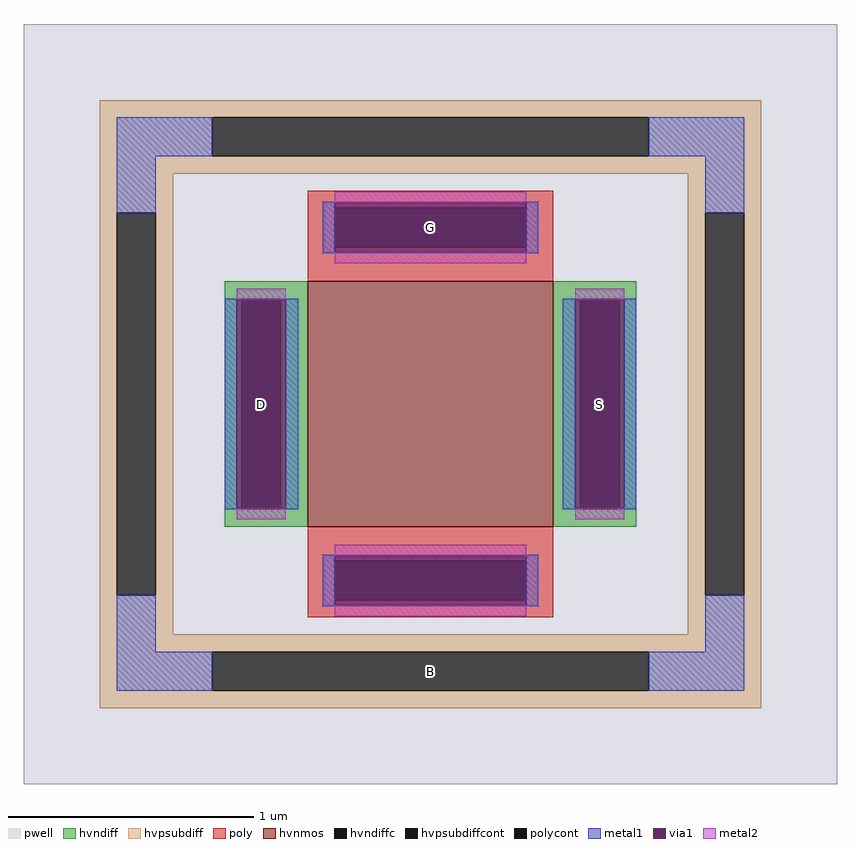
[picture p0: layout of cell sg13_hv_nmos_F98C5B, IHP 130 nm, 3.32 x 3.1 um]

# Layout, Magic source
magic
tech ihp-sg13cmos5l
magscale 1 2
<< pwell >>
rect -332 -310 332 310
<< hvnmos >>
rect -100 -100 100 100
<< hvndiff >>
rect -168 86 -100 100
rect -168 -86 -154 86
rect -122 -86 -100 86
rect -168 -100 -100 -86
rect 100 86 168 100
rect 100 -86 122 86
rect 154 -86 168 86
rect 100 -100 168 -86
<< hvndiffc >>
rect -154 -86 -122 86
rect 122 -86 154 86
<< hvpsubdiff >>
rect -270 234 270 248
rect -270 202 -178 234
rect 178 202 270 234
rect -270 188 270 202
rect -270 156 -210 188
rect -270 -156 -256 156
rect -224 -156 -210 156
rect 210 156 270 188
rect -270 -188 -210 -156
rect 210 -156 224 156
rect 256 -156 270 156
rect 210 -188 270 -156
rect -270 -202 270 -188
rect -270 -234 -178 -202
rect 178 -234 270 -202
rect -270 -248 270 -234
<< hvpsubdiffcont >>
rect -178 202 178 234
rect -256 -156 -224 156
rect 224 -156 256 156
rect -178 -234 178 -202
<< poly >>
rect -100 160 100 174
rect -100 128 -78 160
rect 78 128 100 160
rect -100 100 100 128
rect -100 -128 100 -100
rect -100 -160 -78 -128
rect 78 -160 100 -128
rect -100 -174 100 -160
<< polycont >>
rect -78 128 78 160
rect -78 -160 78 -128
<< metal1 >>
rect -256 202 -178 234
rect 178 202 256 234
rect -256 156 -224 202
rect -88 164 88 165
rect -88 124 -78 164
rect 78 124 88 164
rect -88 123 88 124
rect 224 156 256 202
rect -168 85 -154 86
rect -122 85 -108 86
rect -168 -85 -158 85
rect -118 -85 -108 85
rect -168 -86 -154 -85
rect -122 -86 -108 -85
rect 108 85 122 86
rect 154 85 168 86
rect 108 -85 118 85
rect 158 -85 168 85
rect 108 -86 122 -85
rect 154 -86 168 -85
rect -256 -202 -224 -156
rect -88 -124 88 -123
rect -88 -164 -78 -124
rect 78 -164 88 -124
rect -88 -165 88 -164
rect 224 -202 256 -156
rect -256 -234 -178 -202
rect 178 -234 256 -202
<< via1 >>
rect -78 160 78 164
rect -78 128 78 160
rect -78 124 78 128
rect -158 -85 -154 85
rect -154 -85 -122 85
rect -122 -85 -118 85
rect 118 -85 122 85
rect 122 -85 154 85
rect 154 -85 158 85
rect -78 -128 78 -124
rect -78 -160 78 -128
rect -78 -164 78 -160
<< metal2 >>
rect -78 164 78 173
rect -78 115 78 124
rect -158 85 -118 94
rect -158 -94 -118 -85
rect 118 85 158 94
rect 118 -94 158 -85
rect -78 -124 78 -115
rect -78 -173 78 -164
<< labels >>
rlabel hvpsubdiffcont 0 -218 0 -218 0 B
port 1 nsew
rlabel hvndiffc -138 0 -138 0 0 D
port 2 nsew
rlabel hvndiffc 138 0 138 0 0 S
port 3 nsew
rlabel polycont 0 144 0 144 0 G
port 4 nsew
<< properties >>
string FIXED_BBOX -240 -218 240 218
string gencell sg13_hv_nmos
string library sg13cmos5l
string parameters w 1.0 l 1.0 m 1 ng 1 diffcov 100 polycov 100 guard 1 glc 1 grc 1 gtc 1 gbc 1 tbcov 100 rlcov 100 topc 1 botc 1 poverlap 0 doverlap 1 lmin 0.45 wmin 0.15 class mosfet compatible {sg13_lv_nmos sg13_hv_nmos} full_metal 1 conn_gates 0 gate_ring 0 doports 1 viasrc 100 viadrn 100 viagate 100 ccols 1 viagb 0 viagr 0 viagl 0 viagt 0
<< end >>
